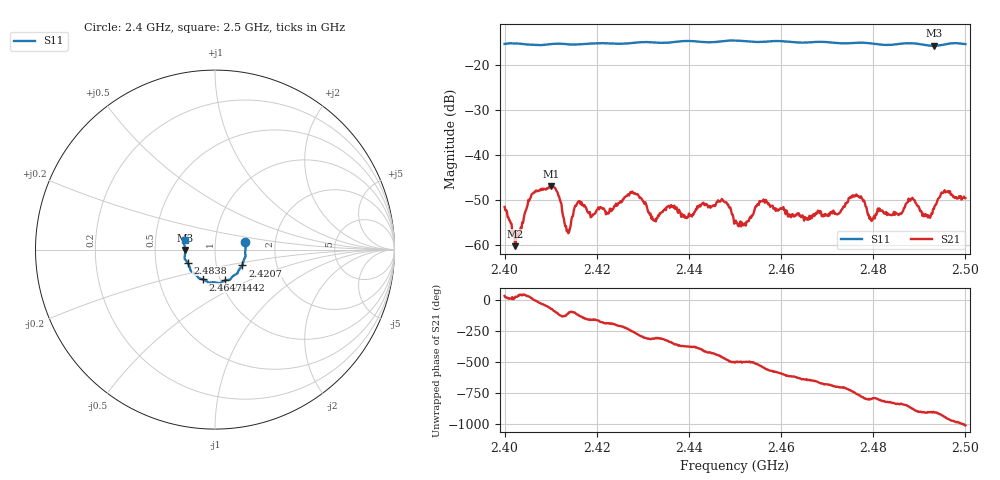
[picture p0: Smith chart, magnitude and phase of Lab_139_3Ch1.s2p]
# Hz S RI R 50
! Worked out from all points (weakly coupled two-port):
!   601 points, 2.4 GHz to 2.5 GHz, reference 50 ohm
!   highest |S21| = -46.89 dB at 2.4102 GHz (marker M1); lowest = -60.3 dB at 2.4023 GHz (marker M2)
!   lowest |S11| = -15.6 dB at 2.4932 GHz (marker M3), VSWR 1.40, Z = 35.8 - j0.162 ohm
!   |S11| at or under -10 dB: start of sweep to end of sweep
!   S12 and S22 are empty: the file has one direction only
!   S11 on the Smith chart (normalised r, x): 2.4 GHz: 1.40, +0.12; 2.4207 GHz: 1.33, -0.24; 2.4442 GHz: 1.05, -0.37; 2.4647 GHz: 0.83, -0.29; 2.4838 GHz: 0.73, -0.11; 2.5 GHz: 0.71, +0.07
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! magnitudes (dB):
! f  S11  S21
! 2.4 GHz  -15.2  -51.5
! 2.4023 GHz  -15.1  -60.3
! 2.4062 GHz  -15.4  -48.5
! 2.4102 GHz  -15.2  -46.9
! 2.4137 GHz  -15.3  -56.7
! 2.4167 GHz  -15.3  -50.5
! 2.4207 GHz  -15.1  -51.6
! 2.4278 GHz  -15.0  -48.2
! 2.4333 GHz  -15.0  -53.4
! 2.4442 GHz  -14.9  -51.6
! 2.4477 GHz  -14.6  -50.3
! 2.45 GHz  -14.5  -54.9
! 2.4558 GHz  -14.8  -50.3
! 2.4647 GHz  -14.9  -53.4
! 2.4667 GHz  -14.8  -54.0
! 2.476 GHz  -15.0  -49.2
! 2.4795 GHz  -15.1  -54.5
! 2.4833 GHz  -15.5  -53.2
! 2.4838 GHz  -15.4  -53.4
! 2.4932 GHz  -15.6  -52.0
! 2.4953 GHz  -15.4  -48.2
! 2.5 GHz  -15.3  -49.6
